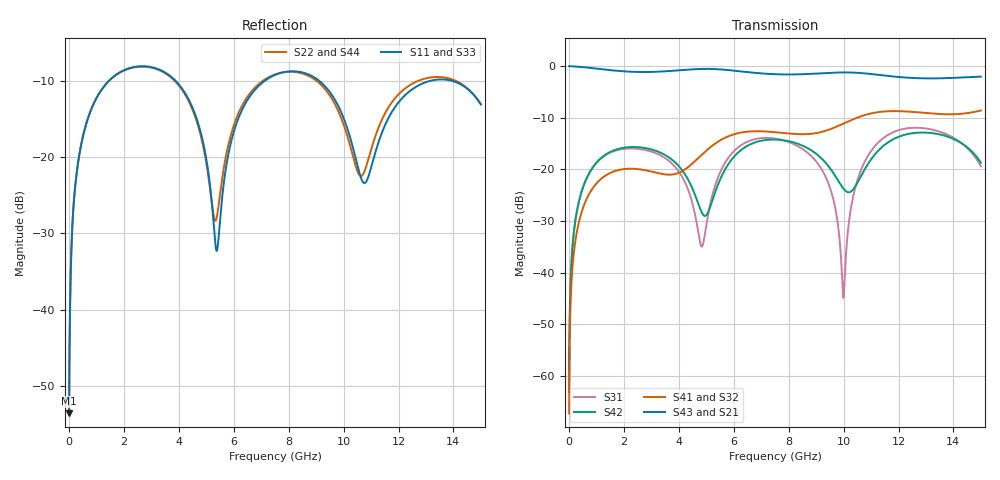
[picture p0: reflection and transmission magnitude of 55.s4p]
! Created with skrf 1.8.0 (http://scikit-rf.org).
# GHz S RI R 50.0
!freq ReS11 ImS11 ReS12 ImS12 ReS13 ImS13
! ReS14 ImS14
! ReS21 ImS21 ReS22 ImS22 ReS23 ImS23
! ReS24 ImS24
! ReS31 ImS31 ReS32 ImS32 ReS33 ImS33
! ReS34 ImS34
! ReS41 ImS41 ReS42 ImS42 ReS43 ImS43
! ReS44 ImS44
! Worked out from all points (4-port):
!   2499 points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, 5 MHz to 15 GHz, reference 50 ohm
!   strongest paths, dB at 5 MHz, 3.476 GHz, 7.19 GHz, 11.1 GHz, 15 GHz:
!     S43: 0.0, -1.0, -1.5, -1.6, -2.0
!     S21: 0.0, -1.0, -1.5, -1.6, -2.1
!     S41: -67.2, -20.9, -12.7, -9.1, -8.6
!     S32: -67.2, -21.0, -12.7, -9.0, -8.6
!     S42: -63.1, -17.1, -14.3, -17.4, -18.7
!     S31: -63.1, -17.7, -13.9, -15.8, -19.4
!   lowest |S11| = -53.5 dB at 5 MHz (marker M1), VSWR 1.00, Z = 50.2 + j0.127 ohm
!   |S11| at or under -10 dB: start of sweep to 1.465 GHz; 3.871 GHz to 7.144 GHz (3.273 GHz wide, 59.4 % of centre); 9.097 GHz to 13.21 GHz (4.11 GHz wide, 36.9 % of centre) (the widest 3 of 4)
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0.005  0.00168 0.00127  0.9983 -0.00326  8.51e-05 0.000691  -8.26e-05 -0.000429
       0.9983 -0.00326  0.00168 0.00127  -8.26e-05 -0.000429  8.53e-05 0.000691
       8.51e-05 0.000691  -8.26e-05 -0.000429  0.00168 0.00127  0.9983 -0.00326
       -8.26e-05 -0.000429  8.53e-05 0.000691  0.9983 -0.00326  0.00168 0.00127
1.519383  0.2709 0.1762  0.549 -0.7291  0.1284 0.0695  -0.0928 -0.00602
          0.549 -0.7291  0.2683 0.1779  -0.0927 -0.00617  0.1363 0.0588
          0.1284 0.0695  -0.0927 -0.00617  0.2709 0.1762  0.5491 -0.7291
          -0.0928 -0.00602  0.1363 0.0588  0.5491 -0.7291  0.2682 0.1779
5.202168  0.026 -0.0429  -0.9255 -0.1522  0.0207 0.0499  -0.0232 0.1668
          -0.9255 -0.1522  0.0393 -0.0308  -0.0259 0.1665  -0.0309 0.0372
          0.0207 0.0499  -0.0259 0.1665  0.0243 -0.0428  -0.9254 -0.1524
          -0.0232 0.1668  -0.0309 0.0372  -0.9254 -0.1524  0.0411 -0.0304
8.340975  0.359 -0.0429  0.0126 0.8309  0.1503 -0.0739  0.2074 -0.0728
          0.0126 0.8309  0.3543 -0.045  0.2077 -0.0673  0.146 -0.0999
          0.1503 -0.0739  0.2077 -0.0673  0.3577 -0.0428  0.012 0.8318
          0.2074 -0.0728  0.146 -0.0999  0.012 0.8318  0.3514 -0.044
9.991663  0.1224 -0.1337  0.7105 0.4986  -0.00551 -0.00153  0.1492 -0.2343
          0.7105 0.4986  0.1196 -0.1134  0.1569 -0.2294  -0.0527 -0.0388
          -0.00551 -0.00153  0.1569 -0.2294  0.1172 -0.1329  0.7108 0.4992
          0.1492 -0.2343  -0.0527 -0.0388  0.7108 0.4992  0.1214 -0.1083
11.37974  0.1159 0.0812  0.7957 -0.1837  0.1313 0.1437  -0.1222 -0.3406
          0.7957 -0.1837  0.1399 0.1015  -0.1118 -0.3446  0.0765 0.1439
          0.1313 0.1437  -0.1118 -0.3446  0.1116 0.0869  0.7958 -0.1824
          -0.1222 -0.3406  0.0765 0.1439  0.7958 -0.1824  0.145 0.1001
15  0.1737 -0.1359  -0.4605 -0.6409  0.0205 -0.1054  -0.2765 0.2489
    -0.4605 -0.6409  0.1758 -0.1333  -0.2873 0.2347  0.0181 -0.1146
    0.0205 -0.1054  -0.2873 0.2347  0.1672 -0.135  -0.4594 -0.6437
    -0.2765 0.2489  0.0181 -0.1146  -0.4594 -0.6437  0.1731 -0.1247
